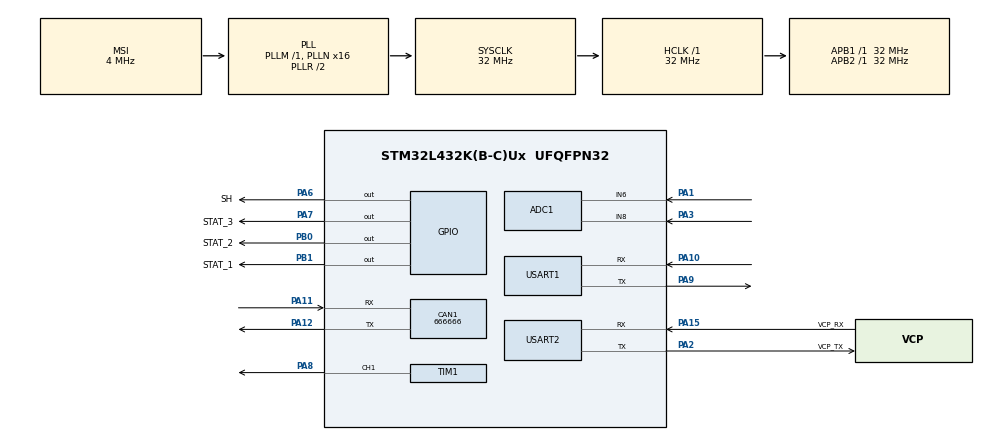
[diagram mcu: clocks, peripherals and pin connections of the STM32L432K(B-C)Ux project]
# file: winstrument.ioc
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ADC1.Channel-1\#ChannelRegularConversion=ADC_CHANNEL_TEMPSENSOR
ADC1.Channel-2\#ChannelRegularConversion=ADC_CHANNEL_VBAT
ADC1.ClockPrescaler=ADC_CLOCK_SYNC_PCLK_DIV4
ADC1.ContinuousConvMode=ENABLE
ADC1.DMAContinuousRequests=ENABLE
ADC1.ExternalTrigConv=ADC_EXTERNALTRIG_T6_TRGO
ADC1.NbrOfConversion=2
ADC1.NbrOfConversionFlag=1
ADC1.OffsetNumber-1\#ChannelRegularConversion=ADC_OFFSET_NONE
ADC1.OffsetNumber-2\#ChannelRegularConversion=ADC_OFFSET_NONE
ADC1.Rank-1\#ChannelRegularConversion=1
ADC1.Rank-2\#ChannelRegularConversion=2
ADC1.SamplingTime-1\#ChannelRegularConversion=ADC_SAMPLETIME_92CYCLES_5
ADC1.SamplingTime-2\#ChannelRegularConversion=ADC_SAMPLETIME_92CYCLES_5
ADC1.master=1
CAN1.CalculateBaudRate=666666
CAN1.CalculateTimeBit=1500
CAN1.CalculateTimeQuantum=500.0
Dma.ADC1.2.Direction=DMA_PERIPH_TO_MEMORY
Dma.ADC1.2.Instance=DMA1_Channel1
Dma.ADC1.2.MemDataAlignment=DMA_MDATAALIGN_HALFWORD
Dma.ADC1.2.MemInc=DMA_MINC_ENABLE
Dma.ADC1.2.Mode=DMA_CIRCULAR
Dma.ADC1.2.PeriphDataAlignment=DMA_PDATAALIGN_HALFWORD
Dma.ADC1.2.PeriphInc=DMA_PINC_DISABLE
Dma.ADC1.2.Priority=DMA_PRIORITY_LOW
Dma.Request0=USART2_RX
Dma.Request1=USART2_TX
Dma.Request2=ADC1
Dma.USART2_RX.0.Direction=DMA_PERIPH_TO_MEMORY
Dma.USART2_RX.0.Instance=DMA1_Channel6
Dma.USART2_RX.0.MemDataAlignment=DMA_MDATAALIGN_BYTE
Dma.USART2_RX.0.MemInc=DMA_MINC_ENABLE
Dma.USART2_RX.0.Mode=DMA_CIRCULAR
Dma.USART2_RX.0.PeriphDataAlignment=DMA_PDATAALIGN_BYTE
Dma.USART2_RX.0.PeriphInc=DMA_PINC_DISABLE
Dma.USART2_RX.0.Priority=DMA_PRIORITY_LOW
Dma.USART2_TX.1.Direction=DMA_MEMORY_TO_PERIPH
Dma.USART2_TX.1.Instance=DMA1_Channel7
Dma.USART2_TX.1.MemDataAlignment=DMA_MDATAALIGN_BYTE
Dma.USART2_TX.1.MemInc=DMA_MINC_ENABLE
Dma.USART2_TX.1.Mode=DMA_CIRCULAR
Dma.USART2_TX.1.PeriphDataAlignment=DMA_PDATAALIGN_BYTE
Dma.USART2_TX.1.PeriphInc=DMA_PINC_DISABLE
Dma.USART2_TX.1.Priority=DMA_PRIORITY_LOW
Mcu.Family=STM32L4
Mcu.Name=STM32L432K(B-C)Ux
Mcu.Package=UFQFPN32
NVIC.ADC1_IRQn=true\:0\:0\:false\:false\:true\:true\:true\:true
NVIC.DMA1_Channel1_IRQn=true\:0\:0\:false\:false\:true\:false\:true\:true
NVIC.DMA1_Channel6_IRQn=true\:0\:0\:false\:false\:true\:false\:true\:true
NVIC.DMA1_Channel7_IRQn=true\:0\:0\:false\:false\:true\:false\:true\:true
NVIC.PriorityGroup=NVIC_PRIORITYGROUP_4
NVIC.TIM6_DAC_IRQn=true\:0\:0\:false\:false\:true\:true\:true\:true
PA0.GPIO_Label=MCO [High speed clock in]
PA0.Mode=HSE-External-Clock-Source-for-LittleOrca
PA0.Signal=RCC_CK_IN
PA1.Signal=ADCx_IN6
PA10.Mode=Asynchronous
PA10.Signal=USART1_RX
PA11.Mode=CAN_Activate
PA11.Signal=CAN1_RX
PA12.Mode=CAN_Activate
PA12.Signal=CAN1_TX
PA13\ (JTMS-SWDIO).GPIO_Label=SWDIO
PA13\ (JTMS-SWDIO).Mode=Serial_Wire
PA13\ (JTMS-SWDIO).Signal=SYS_JTMS-SWDIO
PA14\ (JTCK-SWCLK).GPIO_Label=SWCLK
PA14\ (JTCK-SWCLK).Mode=Serial_Wire
PA14\ (JTCK-SWCLK).Signal=SYS_JTCK-SWCLK
PA15\ (JTDI).GPIO_Label=VCP_RX
PA15\ (JTDI).Mode=Asynchronous
PA15\ (JTDI).Signal=USART2_RX
PA2.GPIO_Label=VCP_TX
PA2.Mode=Asynchronous
PA2.Signal=USART2_TX
PA3.Signal=ADCx_IN8
PA6.GPIO_Label=SH
PA6.Signal=GPIO_Output
PA7.GPIO_Label=STAT_3
PA7.Signal=GPIO_Output
PA8.Signal=S_TIM1_CH1
PA9.Mode=Asynchronous
PA9.Signal=USART1_TX
PB0.GPIO_Label=STAT_2
PB0.Signal=GPIO_Output
PB1.GPIO_Label=STAT_1
PB1.Signal=GPIO_Output
PC14-OSC32_IN\ (PC14).Mode=LSE-External-Oscillator
PC14-OSC32_IN\ (PC14).Signal=RCC_OSC32_IN
PC15-OSC32_OUT\ (PC15).Mode=LSE-External-Oscillator
PC15-OSC32_OUT\ (PC15).Signal=RCC_OSC32_OUT
ProjectManager.HeapSize=0x200
ProjectManager.StackSize=0x400
ProjectManager.TargetToolchain=STM32CubeIDE
RCC.ADCFreq_Value=32000000
RCC.AHBFreq_Value=32000000
RCC.APB1Freq_Value=32000000
RCC.APB1TimFreq_Value=32000000
RCC.APB2Freq_Value=32000000
RCC.APB2TimFreq_Value=32000000
RCC.CortexFreq_Value=32000000
RCC.HCLKFreq_Value=32000000
RCC.HSE_VALUE=8000000
RCC.HSI16_VALUE=16000000
RCC.HSI48_VALUE=48000000
RCC.HSI_VALUE=16000000
RCC.MSI_VALUE=4000000
RCC.PLLMUL=RCC_PLLMUL_4
RCC.PLLN=16
RCC.PLLSAI1N=16
RCC.SYSCLKFreq_VALUE=32000000
RCC.SYSCLKSource=RCC_SYSCLKSOURCE_PLLCLK
RCC.USBFreq_Value=32000000
RCC.VCOOutputFreq_Value=64000000
SH.ADCx_IN6.0=ADC1_IN6,IN6-Single-Ended
SH.ADCx_IN8.0=ADC1_IN8,IN8-Single-Ended
SH.S_TIM1_CH1.0=TIM1_CH1,PWM Generation1 CH1
TIM1.Channel-PWM\ Generation1\ CH1=TIM_CHANNEL_1
TIM1.Pulse-PWM\ Generation1\ CH1=4096
TIM6.Period=100
TIM6.Prescaler=320
TIM6.TIM_MasterOutputTrigger=TIM_TRGO_UPDATE
USART1.VirtualMode-Asynchronous=VM_ASYNC
USART2.AutoBaudRateEnableParam=UART_ADVFEATURE_AUTOBAUDRATE_DISABLE
USART2.VirtualMode-Asynchronous=VM_ASYNC
VP_ADC1_TempSens_Input.Mode=IN-TempSens
VP_ADC1_Vbat_Input.Mode=IN-Vbat
VP_CRC_VS_CRC.Mode=CRC_Activate
VP_RTC_VS_RTC_Activate.Mode=RTC_Enabled
VP_TIM1_VS_ClockSourceINT.Mode=Internal
VP_TIM6_VS_ClockSourceINT.Mode=Enable_Timer
board=NUCLEO-L432KC

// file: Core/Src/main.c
/* USER CODE BEGIN Header */
/**
  ******************************************************************************
  * @file           : main.c
  * @brief          : Main program body
  ******************************************************************************
  * @attention
  *
  * Copyright (c) 2023 STMicroelectronics.
  * All rights reserved.
  *
  * This software is licensed under terms that can be found in the LICENSE file
  * in the root directory of this software component.
  * If no LICENSE file comes with this software, it is provided AS-IS.
  *
  ******************************************************************************
  */
/* USER CODE END Header */
#include "main.h"

/* USER CODE BEGIN Includes */
#include <stdio.h>
/* USER CODE END Includes */

/* USER CODE BEGIN PTD */
#define  PERIOD_VALUE       (uint32_t)(666 - 1)  /* Period Value  */
#define  PULSE1_VALUE       (uint32_t)(PERIOD_VALUE/2)        /* Capture Compare 1 Value  */
#define  PULSE2_VALUE       (uint32_t)(PERIOD_VALUE*37.5/100) /* Capture Compare 2 Value  */
#define  PULSE3_VALUE       (uint32_t)(PERIOD_VALUE/4)        /* Capture Compare 3 Value  */
#define  PULSE4_VALUE       (uint32_t)(PERIOD_VALUE*12.5/100) /* Capture Compare 4 Value  */
/* USER CODE END PTD */

/* USER CODE BEGIN PD */

// ADC Factory Cal Values defines
// 30C Calbration value
//#define TS30    ((uint16_t*)((uint32_t)0x1FFF75A8))
//// 130C Calibration value
//#define TS130	((uint16_t*)((uint32_t)0x1FFF75CA))
//#define TEMPSENSOR_CAL1_TEMP (( int32_t)   30)
//#define TEMPSENSOR_CAL2_TEMP (( int32_t)  130)
//
//// Voltage Reference values
//#define VREF_CAL_VAL ((uint16_t*)(uint32_t)0x1FFF75AA)
//#define VREF_CAL_V ((int32_t) 3)

// FIXME is this 4095 or 4096 for 2^12?
#define ADC_RESOLUTION 4095
#define ADC_SAMPLES 10

/* USER CODE END PD */

ADC_HandleTypeDef hadc1;
DMA_HandleTypeDef hdma_adc1;

CAN_HandleTypeDef hcan1;

CRC_HandleTypeDef hcrc;

RTC_HandleTypeDef hrtc;

TIM_HandleTypeDef htim1;
TIM_HandleTypeDef htim6;

UART_HandleTypeDef huart1;
UART_HandleTypeDef huart2;
DMA_HandleTypeDef hdma_usart2_rx;
DMA_HandleTypeDef hdma_usart2_tx;

/* USER CODE BEGIN PV */

// ADC variables
float ta, tb; // transfer function using calibration data

uint16_t adc_buffer[ADC_SAMPLES * 2 * 2] = { 0 }; // ADC_SAMPLES samples, 2 channels, 2 buffers

uint32_t tim_cnt = 0;

uint16_t vref_avg = 0;
uint16_t temp_avg = 0;
// changed from floats to avoid using floating point unit in an ISR
float vdda = 0; // Result of VDDA calculation
float vref = 0; // Result of vref calculation
float temp = 0; // Result of temp calculation
float corr_temp = 0;	// Result of scaling temp by the voltage difference between cal and operational ADC ref voltage

// TIM1 / PWM variables

/* USER CODE END PV */

void SystemClock_Config(void);
static void MX_GPIO_Init(void);
static void MX_DMA_Init(void);
static void MX_USART2_UART_Init(void);
static void MX_ADC1_Init(void);
static void MX_RTC_Init(void);
static void MX_TIM6_Init(void);
static void MX_CRC_Init(void);
static void MX_TIM1_Init(void);
static void MX_CAN1_Init(void);
static void MX_USART1_UART_Init(void);
/* USER CODE BEGIN PFP */

float CalcTemp(uint8_t);
float CalcVRef(uint8_t);

/* USER CODE END PFP */

/* USER CODE BEGIN 0 */

// Send printf to uart2
int _write(int fd, char *ptr, int len) {
    HAL_StatusTypeDef hstatus;

    if (fd == 1 || fd == 2) {
        hstatus = HAL_UART_Transmit(&huart2, (uint8_t*) ptr, len, HAL_MAX_DELAY);
        if (hstatus == HAL_OK)
            return len;
        else
            return -1;
    }
    return -1;
}

// TIM6 is used for ADC/DMA but we use the same to toggle the LED
void HAL_TIM_PeriodElapsedCallback(TIM_HandleTypeDef *htim) {
    if (htim->Instance == TIM6) {
        if (tim_cnt % 500 == 0)
            HAL_GPIO_TogglePin(LD3_GPIO_Port, LD3_Pin);
        tim_cnt++;

    }
}

// Process half a buffer full of data
static inline void process_adc_buffer(uint16_t *buffer) {

    // TODO removed floats / changed algorithm to int32 to avoid using the FPU in ISR which is bad!

    uint32_t sum1 = 0, sum2 = 0;
    // FIXME pre vs post increment?
    for (int i = 0; i < ADC_SAMPLES; i++) {
        sum1 += buffer[i * 2];
        sum2 += buffer[1 + i * 2];
    }

    // this is a simple time-averaged value of samples
    // it's ok to divide without a float here because it's by 100?  If this is a power of 2 is that better?
    temp_avg = sum1 / ADC_SAMPLES;
    vref_avg = sum2 / ADC_SAMPLES;

    // VDDA can be calculated based on the measured vref and the calibration data
    // removed the /1000 to avoid the float
    vdda = (((float)VREFINT_CAL_VREF * (float)*VREFINT_CAL_ADDR) / (float)vref_avg);

    // Knowing vdda and the resolution of adc - the actual voltage can be calculated
    vref = (vdda / ADC_RESOLUTION) * (float)vref_avg;

 /*   // this is calibrated, but not scaled by the voltage offset
    temp = (float) (ta * temp_avg - tb);*/

    // TODO this seems to work-ish, however should follow the good advice of "don't do math in the ISR!"
    temp = ((temp_avg * (vdda * 1000) / VREFINT_CAL_VREF) - (int32_t)*TEMPSENSOR_CAL1_ADDR );
    // FIXME this should use the chip macro specified values here, not hardcoded values
    temp = temp * (int32_t)(130-30);
    temp = temp / (int32_t)(*TEMPSENSOR_CAL2_ADDR - *TEMPSENSOR_CAL1_ADDR);
    temp = temp + 30;

}

void HAL_ADC_ConvHalfCpltCallback(ADC_HandleTypeDef *hadc) {
    process_adc_buffer(&adc_buffer[0]); // We're half way through the buffer, so can safely deal with first half
}

void HAL_ADC_ConvCpltCallback(ADC_HandleTypeDef *hadc) {
    process_adc_buffer(&adc_buffer[ADC_SAMPLES * 2]); // We're all the way through the buffer, so deal with second half
}

// FIXME this doesn't appear to be actually used anywhere?
void calculate_calibration() {

    float x1 = (float) *TEMPSENSOR_CAL1_ADDR;
    float x2 = (float) *TEMPSENSOR_CAL2_ADDR;
    float y1 = (float) TEMPSENSOR_CAL1_TEMP;
    float y2 = (float) TEMPSENSOR_CAL2_TEMP;

    // Simple linear equation y = ax + b based on two points
    ta = (float) ((y2 - y1) / (x2 - x1));
    tb = (float) ((x2 * y1 - x1 * y2) / (x2 - x1));

}

/* USER CODE END 0 */

int main(void)
{

  /* MCU Configuration--------------------------------------------------------*/

  /* Reset of all peripherals, Initializes the Flash interface and the Systick. */
  HAL_Init();

  /* Configure the system clock */
  SystemClock_Config();

  /* Initialize all configured peripherals */
  MX_GPIO_Init();
  MX_DMA_Init();
  MX_USART2_UART_Init();
  MX_ADC1_Init();
  MX_RTC_Init();
  MX_TIM6_Init();
  MX_CRC_Init();
  MX_TIM1_Init();
  MX_CAN1_Init();
  MX_USART1_UART_Init();
  /* USER CODE BEGIN 2 */

  // TODO read up on this and see if this actually makes any sense at all to use.  Advice from the stackexchange post on PWM operation.
  //memset(&sConfigOC, 0, sizeof(sConfigOC));

  // TODO setup PWM
  HAL_TIM_PWM_Stop(&htim1, TIM_CHANNEL_1);
  // HAL_TIM_PWM_ConfigChannel(&htim1, &sConfigOC, TIM_CHANNEL_1);

  HAL_TIM_PWM_Start(&htim1, TIM_CHANNEL_1);

  printf("\n\nStarting\n");
  printf("VREFINT_CAL = %d (0x%04x)\r\n", (uint16_t)*VREFINT_CAL_ADDR, (uint16_t)*VREFINT_CAL_ADDR);
  printf("TEMPSENSOR_CAL1 = %d (0x%04x)\r\n", (uint16_t)*TEMPSENSOR_CAL1_ADDR, (uint16_t)*TEMPSENSOR_CAL1_ADDR);
  printf("TEMPSENSOR_CAL2 = %d (0x%04x)\r\n", (uint16_t)*TEMPSENSOR_CAL2_ADDR, (uint16_t)*TEMPSENSOR_CAL2_ADDR);

  // Calculate transfer function values - a and b in simple linear equation y = ax + b
  // TODO check this algorithm to ensure it tracks the suggested practice by ST

  ta = (float)((uint16_t)TEMPSENSOR_CAL2_TEMP - (uint16_t)TEMPSENSOR_CAL1_TEMP) / ((uint16_t)*TEMPSENSOR_CAL2_ADDR - (uint16_t)*TEMPSENSOR_CAL1_ADDR);
  tb = ((ta * (uint16_t)*TEMPSENSOR_CAL1_ADDR) + (uint16_t)TEMPSENSOR_CAL1_TEMP);

  printf("Temp calibration: t = %0.3f * tmeasured - %0.3f\r\n", ta, tb);

  HAL_TIM_Base_Start_IT(&htim6); // First get the timer running

  HAL_ADC_Start_DMA(&hadc1, (uint32_t*) adc_buffer, ADC_SAMPLES * 2 * 2); // Now fire up the ADC DMA

  /* USER CODE END 2 */

  /* Infinite loop */
  /* USER CODE BEGIN WHILE */

  uint32_t now = 0, then = 0;

  while (1)
  {
      now = HAL_GetTick();

      if (now - then >= 1000)
	{

         printf("VDDA = %5.3f V Vref = %5.3f V (raw = %d) Temp = %4.2f °C (raw = %d)\r\n", vdda, vref, vref_avg, temp, temp_avg);

         then = now;
	}

    /* USER CODE END WHILE */

  }
}

void SystemClock_Config(void)
{
  RCC_OscInitTypeDef RCC_OscInitStruct = {0};
  RCC_ClkInitTypeDef RCC_ClkInitStruct = {0};

  /** Configure the main internal regulator output voltage
  */
  if (HAL_PWREx_ControlVoltageScaling(PWR_REGULATOR_VOLTAGE_SCALE1) != HAL_OK)
  {
    Error_Handler();
  }

  /** Configure LSE Drive Capability
  */
  HAL_PWR_EnableBkUpAccess();
  __HAL_RCC_LSEDRIVE_CONFIG(RCC_LSEDRIVE_LOW);

  /** Initializes the RCC Oscillators according to the specified parameters
  * in the RCC_OscInitTypeDef structure.
  */
  RCC_OscInitStruct.OscillatorType = RCC_OSCILLATORTYPE_LSI|RCC_OSCILLATORTYPE_LSE
                              |RCC_OSCILLATORTYPE_MSI;
  RCC_OscInitStruct.LSEState = RCC_LSE_ON;
  RCC_OscInitStruct.LSIState = RCC_LSI_ON;
  RCC_OscInitStruct.MSIState = RCC_MSI_ON;
  RCC_OscInitStruct.MSICalibrationValue = 0;
  RCC_OscInitStruct.MSIClockRange = RCC_MSIRANGE_6;
  RCC_OscInitStruct.PLL.PLLState = RCC_PLL_ON;
  RCC_OscInitStruct.PLL.PLLSource = RCC_PLLSOURCE_MSI;
  RCC_OscInitStruct.PLL.PLLM = 1;
  RCC_OscInitStruct.PLL.PLLN = 16;
  RCC_OscInitStruct.PLL.PLLP = RCC_PLLP_DIV7;
  RCC_OscInitStruct.PLL.PLLQ = RCC_PLLQ_DIV2;
  RCC_OscInitStruct.PLL.PLLR = RCC_PLLR_DIV2;
  if (HAL_RCC_OscConfig(&RCC_OscInitStruct) != HAL_OK)
  {
    Error_Handler();
  }

  /** Initializes the CPU, AHB and APB buses clocks
  */
  RCC_ClkInitStruct.ClockType = RCC_CLOCKTYPE_HCLK|RCC_CLOCKTYPE_SYSCLK
                              |RCC_CLOCKTYPE_PCLK1|RCC_CLOCKTYPE_PCLK2;
  RCC_ClkInitStruct.SYSCLKSource = RCC_SYSCLKSOURCE_PLLCLK;
  RCC_ClkInitStruct.AHBCLKDivider = RCC_SYSCLK_DIV1;
  RCC_ClkInitStruct.APB1CLKDivider = RCC_HCLK_DIV1;
  RCC_ClkInitStruct.APB2CLKDivider = RCC_HCLK_DIV1;

  if (HAL_RCC_ClockConfig(&RCC_ClkInitStruct, FLASH_LATENCY_1) != HAL_OK)
  {
    Error_Handler();
  }

  /** Enable MSI Auto calibration
  */
  HAL_RCCEx_EnableMSIPLLMode();
}

static void MX_ADC1_Init(void)
{

  ADC_ChannelConfTypeDef sConfig = {0};

  /** Common config
  */
  hadc1.Instance = ADC1;
  hadc1.Init.ClockPrescaler = ADC_CLOCK_SYNC_PCLK_DIV4;
  hadc1.Init.Resolution = ADC_RESOLUTION_12B;
  hadc1.Init.DataAlign = ADC_DATAALIGN_RIGHT;
  hadc1.Init.ScanConvMode = ADC_SCAN_ENABLE;
  hadc1.Init.EOCSelection = ADC_EOC_SINGLE_CONV;
  hadc1.Init.LowPowerAutoWait = DISABLE;
  hadc1.Init.ContinuousConvMode = ENABLE;
  hadc1.Init.NbrOfConversion = 2;
  hadc1.Init.DiscontinuousConvMode = DISABLE;
  hadc1.Init.ExternalTrigConv = ADC_EXTERNALTRIG_T6_TRGO;
  hadc1.Init.ExternalTrigConvEdge = ADC_EXTERNALTRIGCONVEDGE_RISING;
  hadc1.Init.DMAContinuousRequests = ENABLE;
  hadc1.Init.Overrun = ADC_OVR_DATA_PRESERVED;
  hadc1.Init.OversamplingMode = DISABLE;
  if (HAL_ADC_Init(&hadc1) != HAL_OK)
  {
    Error_Handler();
  }

  /** Configure Regular Channel
  */
  sConfig.Channel = ADC_CHANNEL_TEMPSENSOR;
  sConfig.Rank = ADC_REGULAR_RANK_1;
  sConfig.SamplingTime = ADC_SAMPLETIME_92CYCLES_5;
  sConfig.SingleDiff = ADC_SINGLE_ENDED;
  sConfig.OffsetNumber = ADC_OFFSET_NONE;
  sConfig.Offset = 0;
  if (HAL_ADC_ConfigChannel(&hadc1, &sConfig) != HAL_OK)
  {
    Error_Handler();
  }

  /** Configure Regular Channel
  */
  sConfig.Channel = ADC_CHANNEL_VBAT;
  sConfig.Rank = ADC_REGULAR_RANK_2;
  if (HAL_ADC_ConfigChannel(&hadc1, &sConfig) != HAL_OK)
  {
    Error_Handler();
  }

}

static void MX_CAN1_Init(void)
{

  hcan1.Instance = CAN1;
  hcan1.Init.Prescaler = 16;
  hcan1.Init.Mode = CAN_MODE_NORMAL;
  hcan1.Init.SyncJumpWidth = CAN_SJW_1TQ;
  hcan1.Init.TimeSeg1 = CAN_BS1_1TQ;
  hcan1.Init.TimeSeg2 = CAN_BS2_1TQ;
  hcan1.Init.TimeTriggeredMode = DISABLE;
  hcan1.Init.AutoBusOff = DISABLE;
  hcan1.Init.AutoWakeUp = DISABLE;
  hcan1.Init.AutoRetransmission = DISABLE;
  hcan1.Init.ReceiveFifoLocked = DISABLE;
  hcan1.Init.TransmitFifoPriority = DISABLE;
  if (HAL_CAN_Init(&hcan1) != HAL_OK)
  {
    Error_Handler();
  }

}

static void MX_CRC_Init(void)
{

  hcrc.Instance = CRC;
  hcrc.Init.DefaultPolynomialUse = DEFAULT_POLYNOMIAL_ENABLE;
  hcrc.Init.DefaultInitValueUse = DEFAULT_INIT_VALUE_ENABLE;
  hcrc.Init.InputDataInversionMode = CRC_INPUTDATA_INVERSION_NONE;
  hcrc.Init.OutputDataInversionMode = CRC_OUTPUTDATA_INVERSION_DISABLE;
  hcrc.InputDataFormat = CRC_INPUTDATA_FORMAT_BYTES;
  if (HAL_CRC_Init(&hcrc) != HAL_OK)
  {
    Error_Handler();
  }

}

static void MX_RTC_Init(void)
{

  /** Initialize RTC Only
  */
  hrtc.Instance = RTC;
  hrtc.Init.HourFormat = RTC_HOURFORMAT_24;
  hrtc.Init.AsynchPrediv = 127;
  hrtc.Init.SynchPrediv = 255;
  hrtc.Init.OutPut = RTC_OUTPUT_DISABLE;
  hrtc.Init.OutPutRemap = RTC_OUTPUT_REMAP_NONE;
  hrtc.Init.OutPutPolarity = RTC_OUTPUT_POLARITY_HIGH;
  hrtc.Init.OutPutType = RTC_OUTPUT_TYPE_OPENDRAIN;
  if (HAL_RTC_Init(&hrtc) != HAL_OK)
  {
    Error_Handler();
  }

}

static void MX_TIM1_Init(void)
{

  TIM_ClockConfigTypeDef sClockSourceConfig = {0};
  TIM_MasterConfigTypeDef sMasterConfig = {0};
  TIM_OC_InitTypeDef sConfigOC = {0};
  TIM_BreakDeadTimeConfigTypeDef sBreakDeadTimeConfig = {0};

  htim1.Instance = TIM1;
  htim1.Init.Prescaler = 0;
  htim1.Init.CounterMode = TIM_COUNTERMODE_UP;
  htim1.Init.Period = 65535;
  htim1.Init.ClockDivision = TIM_CLOCKDIVISION_DIV1;
  htim1.Init.RepetitionCounter = 0;
  htim1.Init.AutoReloadPreload = TIM_AUTORELOAD_PRELOAD_DISABLE;
  if (HAL_TIM_Base_Init(&htim1) != HAL_OK)
  {
    Error_Handler();
  }
  sClockSourceConfig.ClockSource = TIM_CLOCKSOURCE_INTERNAL;
  if (HAL_TIM_ConfigClockSource(&htim1, &sClockSourceConfig) != HAL_OK)
  {
    Error_Handler();
  }
  if (HAL_TIM_PWM_Init(&htim1) != HAL_OK)
  {
    Error_Handler();
  }
  sMasterConfig.MasterOutputTrigger = TIM_TRGO_RESET;
  sMasterConfig.MasterOutputTrigger2 = TIM_TRGO2_RESET;
  sMasterConfig.MasterSlaveMode = TIM_MASTERSLAVEMODE_DISABLE;
  if (HAL_TIMEx_MasterConfigSynchronization(&htim1, &sMasterConfig) != HAL_OK)
  {
    Error_Handler();
  }
  sConfigOC.OCMode = TIM_OCMODE_PWM1;
  sConfigOC.Pulse = 4096;
  sConfigOC.OCPolarity = TIM_OCPOLARITY_HIGH;
  sConfigOC.OCNPolarity = TIM_OCNPOLARITY_HIGH;
  sConfigOC.OCFastMode = TIM_OCFAST_DISABLE;
  sConfigOC.OCIdleState = TIM_OCIDLESTATE_RESET;
  sConfigOC.OCNIdleState = TIM_OCNIDLESTATE_RESET;
  if (HAL_TIM_PWM_ConfigChannel(&htim1, &sConfigOC, TIM_CHANNEL_1) != HAL_OK)
  {
    Error_Handler();
  }
  sBreakDeadTimeConfig.OffStateRunMode = TIM_OSSR_DISABLE;
  sBreakDeadTimeConfig.OffStateIDLEMode = TIM_OSSI_DISABLE;
  sBreakDeadTimeConfig.LockLevel = TIM_LOCKLEVEL_OFF;
  sBreakDeadTimeConfig.DeadTime = 0;
  sBreakDeadTimeConfig.BreakState = TIM_BREAK_DISABLE;
  sBreakDeadTimeConfig.BreakPolarity = TIM_BREAKPOLARITY_HIGH;
  sBreakDeadTimeConfig.BreakFilter = 0;
  sBreakDeadTimeConfig.Break2State = TIM_BREAK2_DISABLE;
  sBreakDeadTimeConfig.Break2Polarity = TIM_BREAK2POLARITY_HIGH;
  sBreakDeadTimeConfig.Break2Filter = 0;
  sBreakDeadTimeConfig.AutomaticOutput = TIM_AUTOMATICOUTPUT_DISABLE;
  if (HAL_TIMEx_ConfigBreakDeadTime(&htim1, &sBreakDeadTimeConfig) != HAL_OK)
  {
    Error_Handler();
  }
  HAL_TIM_MspPostInit(&htim1);

}

static void MX_TIM6_Init(void)
{

  TIM_MasterConfigTypeDef sMasterConfig = {0};

  htim6.Instance = TIM6;
  htim6.Init.Prescaler = 320;
  htim6.Init.CounterMode = TIM_COUNTERMODE_UP;
  htim6.Init.Period = 100;
  htim6.Init.AutoReloadPreload = TIM_AUTORELOAD_PRELOAD_DISABLE;
  if (HAL_TIM_Base_Init(&htim6) != HAL_OK)
  {
    Error_Handler();
  }
  sMasterConfig.MasterOutputTrigger = TIM_TRGO_UPDATE;
  sMasterConfig.MasterSlaveMode = TIM_MASTERSLAVEMODE_DISABLE;
  if (HAL_TIMEx_MasterConfigSynchronization(&htim6, &sMasterConfig) != HAL_OK)
  {
    Error_Handler();
  }

}

static void MX_USART1_UART_Init(void)
{

  huart1.Instance = USART1;
  huart1.Init.BaudRate = 115200;
  huart1.Init.WordLength = UART_WORDLENGTH_8B;
  huart1.Init.StopBits = UART_STOPBITS_1;
  huart1.Init.Parity = UART_PARITY_NONE;
  huart1.Init.Mode = UART_MODE_TX_RX;
  huart1.Init.HwFlowCtl = UART_HWCONTROL_NONE;
  huart1.Init.OverSampling = UART_OVERSAMPLING_16;
  huart1.Init.OneBitSampling = UART_ONE_BIT_SAMPLE_DISABLE;
  huart1.AdvancedInit.AdvFeatureInit = UART_ADVFEATURE_NO_INIT;
  if (HAL_UART_Init(&huart1) != HAL_OK)
  {
    Error_Handler();
  }

}

static void MX_USART2_UART_Init(void)
{

  huart2.Instance = USART2;
  huart2.Init.BaudRate = 115200;
  huart2.Init.WordLength = UART_WORDLENGTH_8B;
  huart2.Init.StopBits = UART_STOPBITS_1;
  huart2.Init.Parity = UART_PARITY_NONE;
  huart2.Init.Mode = UART_MODE_TX_RX;
  huart2.Init.HwFlowCtl = UART_HWCONTROL_NONE;
  huart2.Init.OverSampling = UART_OVERSAMPLING_16;
  huart2.Init.OneBitSampling = UART_ONE_BIT_SAMPLE_DISABLE;
  huart2.AdvancedInit.AdvFeatureInit = UART_ADVFEATURE_NO_INIT;
  if (HAL_UART_Init(&huart2) != HAL_OK)
  {
    Error_Handler();
  }

}

static void MX_DMA_Init(void)
{

  /* DMA controller clock enable */
  __HAL_RCC_DMA1_CLK_ENABLE();

  /* DMA interrupt init */
  /* DMA1_Channel1_IRQn interrupt configuration */
  HAL_NVIC_SetPriority(DMA1_Channel1_IRQn, 0, 0);
  HAL_NVIC_EnableIRQ(DMA1_Channel1_IRQn);
  /* DMA1_Channel6_IRQn interrupt configuration */
  HAL_NVIC_SetPriority(DMA1_Channel6_IRQn, 0, 0);
  HAL_NVIC_EnableIRQ(DMA1_Channel6_IRQn);
  /* DMA1_Channel7_IRQn interrupt configuration */
  HAL_NVIC_SetPriority(DMA1_Channel7_IRQn, 0, 0);
  HAL_NVIC_EnableIRQ(DMA1_Channel7_IRQn);

}

static void MX_GPIO_Init(void)
{
  GPIO_InitTypeDef GPIO_InitStruct = {0};

  /* GPIO Ports Clock Enable */
  __HAL_RCC_GPIOC_CLK_ENABLE();
  __HAL_RCC_GPIOA_CLK_ENABLE();
  __HAL_RCC_GPIOB_CLK_ENABLE();

  /*Configure GPIO pin Output Level */
  HAL_GPIO_WritePin(GPIOA, SH_Pin|STAT_3_Pin, GPIO_PIN_RESET);

  /*Configure GPIO pin Output Level */
  HAL_GPIO_WritePin(GPIOB, STAT_2_Pin|STAT_1_Pin, GPIO_PIN_RESET);

  /*Configure GPIO pins : SH_Pin STAT_3_Pin */
  GPIO_InitStruct.Pin = SH_Pin|STAT_3_Pin;
  GPIO_InitStruct.Mode = GPIO_MODE_OUTPUT_PP;
  GPIO_InitStruct.Pull = GPIO_NOPULL;
  GPIO_InitStruct.Speed = GPIO_SPEED_FREQ_LOW;
  HAL_GPIO_Init(GPIOA, &GPIO_InitStruct);

  /*Configure GPIO pins : STAT_2_Pin STAT_1_Pin */
  GPIO_InitStruct.Pin = STAT_2_Pin|STAT_1_Pin;
  GPIO_InitStruct.Mode = GPIO_MODE_OUTPUT_PP;
  GPIO_InitStruct.Pull = GPIO_NOPULL;
  GPIO_InitStruct.Speed = GPIO_SPEED_FREQ_LOW;
  HAL_GPIO_Init(GPIOB, &GPIO_InitStruct);

}

void Error_Handler(void)
{
  __disable_irq();
  while (1)
  {
  }
}
